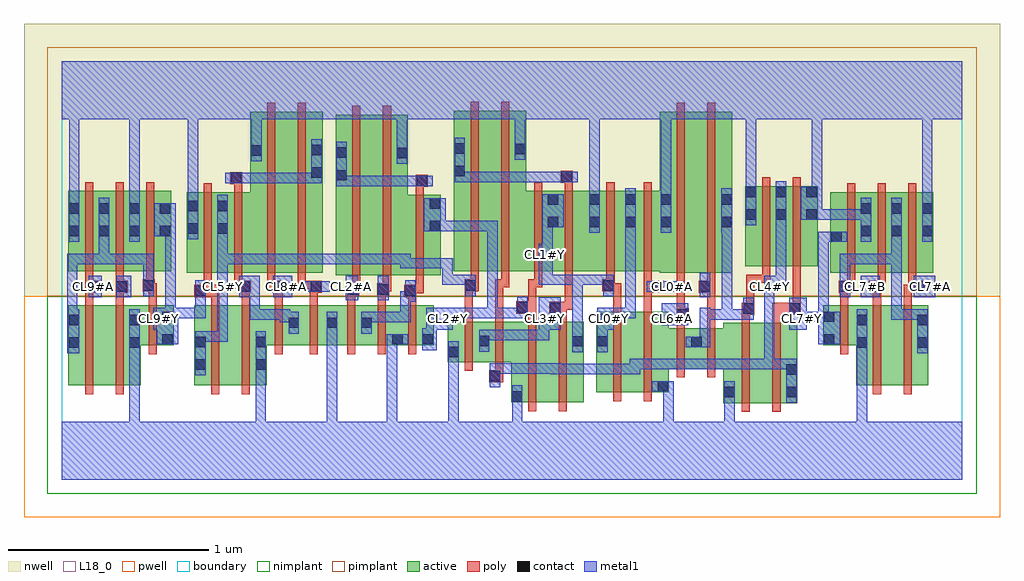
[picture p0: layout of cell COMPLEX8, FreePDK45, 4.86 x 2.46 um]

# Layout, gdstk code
import gdstk
lib = gdstk.Library(unit=1e-6, precision=1e-09)
def R(c, l, rs):  # rectangles x0, y0, x1, y1
    for r in rs: c.add(gdstk.rectangle(r[:2], r[2:], *l))
def A(c, l, x, y, w, h, nx, ny, dx, dy):  # array of equal rectangles
    R(c, l, [(x+i*dx, y+j*dy, x+i*dx+w, y+j*dy+h) for i in range(nx) for j in range(ny)])
active = (1, 0)
pwell = (2, 0)
nwell = (3, 0)
nimplant = (4, 0)
pimplant = (5, 0)
poly = (9, 0)
contact = (10, 0)
metal1 = (11, 0)
L18_0 = (18, 0)
boundary = (235, 0)

complex8 = lib.new_cell('COMPLEX8')
A(complex8, active, 3.972, 1.03, 0.06, 0.348, 3, 1, 0.152, 0)
A(complex8, active, 0.18, 1.036, 0.06, 0.4, 3, 1, 0.152, 0)
R(complex8, active, [(3.292,0.38,3.48,0.78), (3.292,0.38,3.352,0.552), (3.48,0.38,3.66,0.78), (3.6,0.38,3.66,0.78), (2.236,0.384,2.416,0.784), (2.236,0.384,2.296,0.584), (2.416,0.384,2.596,0.784), (2.66,0.434,2.84,0.834), (2.84,0.434,3.02,0.834), (2.96,0.434,3.02,0.552), (2.536,0.46,2.596,0.784), (2.66,0.46,2.72,0.834), (0.032,0.468,0.092,0.868), (0.032,0.468,0.212,0.868), (0.212,0.468,0.392,0.868), (0.332,0.468,0.392,0.868), (0.66,0.468,0.72,0.868), (0.66,0.468,0.84,0.868), (0.84,0.468,1.02,0.868), (0.96,0.468,1.02,0.868), (3.952,0.468,4.012,0.868), (3.952,0.468,4.132,0.868), (4.132,0.468,4.312,0.868), (4.252,0.468,4.312,0.868), (2.96,0.552,3.188,0.752), (3.128,0.552,3.352,0.752), (3.128,0.552,3.188,0.752), (1.92,0.584,1.98,0.784), (1.92,0.584,2.132,0.784), (2.072,0.584,2.296,0.784), (2.072,0.584,2.132,0.72), (0.332,0.668,0.556,0.868), (0.496,0.668,0.556,0.868), (0.96,0.668,1.184,0.868), (1.124,0.668,1.184,0.868), (1.124,0.668,1.374,0.868), (1.314,0.668,1.374,0.868), (1.314,0.668,1.546,0.868), (1.486,0.668,1.546,0.868), (1.486,0.668,1.7,0.868), (1.64,0.668,1.85,0.868), (1.64,0.668,1.7,0.728), (1.79,0.668,1.85,0.868), (3.788,0.668,4.012,0.868), (3.788,0.668,3.848,0.868), (1.362,1.016,1.542,1.816), (1.362,1.016,1.446,1.724), (1.542,1.016,1.722,1.816), (1.662,1.016,1.886,1.416), (1.662,1.016,1.722,1.816), (1.826,1.016,1.886,1.416), (0.622,1.03,0.682,1.43), (0.622,1.03,0.83,1.43), (0.77,1.03,0.83,1.43), (0.77,1.03,0.998,1.43), (0.938,1.03,1.118,1.83), (1.118,1.03,1.298,1.83), (1.238,1.03,1.298,1.724), (2.976,1.03,3.156,1.83), (3.156,1.03,3.336,1.83), (3.276,1.03,3.336,1.724), (3.824,1.03,4.032,1.43), (3.824,1.03,3.884,1.356), (3.972,1.03,4.184,1.43), (4.124,1.03,4.336,1.43), (0.032,1.036,0.092,1.436), (0.032,1.036,0.24,1.436), (0.18,1.036,0.392,1.436), (0.332,1.036,0.544,1.436), (1.95,1.036,2.13,1.836), (1.95,1.036,2.034,1.724), (2.13,1.036,2.31,1.836), (2.25,1.036,2.474,1.436), (2.414,1.036,2.474,1.436), (2.414,1.036,2.68,1.436), (2.62,1.036,2.68,1.424), (2.62,1.036,2.86,1.436), (2.8,1.036,3.036,1.436), (2.8,1.036,2.86,1.424), (2.976,1.036,3.036,1.83), (3.4,1.06,3.46,1.46), (3.4,1.06,3.608,1.46), (3.548,1.06,3.608,1.46), (3.548,1.06,3.76,1.46), (3.7,1.06,3.76,1.46), (2.25,1.164,2.31,1.674), (0.938,1.224,0.998,1.668)])
R(complex8, pwell, [(-0.188,-0.188,4.668,0.912)])
R(complex8, nwell, [(-0.188,0.912,4.668,2.268)])
R(complex8, nimplant, [(-0.072,-0.072,4.552,0.912)])
R(complex8, pimplant, [(-0.072,0.912,4.552,2.152)])
A(complex8, poly, 1.42, 0.624, 0.04, 0.288, 3, 1, 0.152, 0)
A(complex8, poly, 3.908, 0.95, 0.04, 0.076, 3, 1, 0.152, 0)
A(complex8, poly, 3.908, 0.986, 0.04, 0.488, 3, 1, 0.152, 0)
A(complex8, poly, 0.116, 0.992, 0.04, 0.488, 3, 1, 0.152, 0)
R(complex8, poly, [(3.384,0.336,3.424,0.824), (3.536,0.336,3.576,0.824), (2.32,0.34,2.36,0.828), (2.472,0.34,2.512,0.828), (2.744,0.39,2.784,0.878), (2.896,0.39,2.936,0.878), (0.116,0.424,0.156,0.912), (0.268,0.424,0.308,0.912), (0.744,0.424,0.784,0.912), (0.896,0.424,0.936,0.912), (4.036,0.424,4.076,0.912), (4.188,0.424,4.228,0.912), (2.126,0.484,2.196,0.544), (2.156,0.504,2.196,0.58), (3.06,0.508,3.1,0.796), (3.212,0.508,3.252,0.796), (2.004,0.54,2.044,0.828), (2.156,0.54,2.196,0.828), (0.432,0.624,0.472,0.912), (1.06,0.624,1.1,0.912), (1.234,0.624,1.274,0.912), (3.872,0.624,3.912,0.912), (3.06,0.756,3.1,0.832), (3.212,0.756,3.252,0.97), (3.384,0.784,3.424,0.86), (3.536,0.784,3.576,0.86), (2.004,0.788,2.044,0.976), (2.156,0.788,2.196,0.996), (2.32,0.788,2.36,0.866), (2.472,0.788,2.512,0.864), (3.06,0.792,3.12,0.852), (3.06,0.812,3.1,0.852), (3.06,0.812,3.1,0.852), (3.06,0.812,3.1,1.026), (3.384,0.82,3.446,0.88), (3.536,0.82,3.676,0.88), (2.426,0.824,2.512,0.884), (2.262,0.826,2.36,0.886), (2.744,0.838,2.784,0.976), (2.896,0.838,2.936,0.97), (3.406,0.84,3.446,1.02), (3.636,0.84,3.676,0.88), (3.636,0.84,3.676,0.88), (3.636,0.84,3.676,1.056), (2.472,0.844,2.512,0.884), (2.472,0.844,2.542,0.884), (2.502,0.844,2.542,1.032), (2.32,0.846,2.36,0.996), (0.116,0.872,0.156,0.97), (0.268,0.872,0.308,0.97), (0.432,0.872,0.472,0.976), (0.744,0.872,0.784,0.948), (0.896,0.872,0.936,0.97), (1.06,0.872,1.1,0.97), (1.234,0.872,1.274,0.97), (1.42,0.872,1.46,0.956), (1.572,0.872,1.612,0.956), (1.724,0.872,1.764,0.948), (3.872,0.872,3.912,0.97), (4.036,0.872,4.076,0.97), (4.188,0.872,4.228,0.97), (0.66,0.908,0.784,0.968), (1.704,0.908,1.764,0.968), (1.42,0.916,1.48,0.976), (1.57,0.916,1.63,0.976), (0.706,0.928,0.746,0.968), (0.706,0.928,0.746,0.968), (0.706,0.928,0.746,1.026), (1.724,0.928,1.764,0.968), (1.724,0.928,1.802,0.968), (1.762,0.928,1.802,1.012), (0.116,0.93,0.19,0.99), (0.268,0.93,0.328,0.99), (0.88,0.93,0.94,0.99), (1.048,0.93,1.108,0.99), (1.234,0.93,1.294,0.99), (2.896,0.93,2.936,0.97), (2.896,0.93,2.936,0.97), (2.896,0.93,2.994,0.99), (3.17,0.93,3.252,0.99), (3.212,0.93,3.252,0.97), (3.212,0.93,3.252,0.97), (3.866,0.93,3.948,0.99), (3.872,0.93,3.912,0.97), (3.872,0.93,3.912,0.97), (4.014,0.93,4.076,0.99), (4.188,0.93,4.252,0.97), (4.212,0.93,4.252,0.97), (4.212,0.93,4.294,0.99), (0.402,0.936,0.462,0.996), (0.422,0.936,0.462,0.976), (0.422,0.936,0.472,0.976), (1.44,0.936,1.48,0.976), (1.44,0.936,1.486,0.976), (1.446,0.936,1.486,1.012), (1.59,0.936,1.63,0.976), (1.59,0.936,1.638,0.976), (1.598,0.936,1.638,1.012), (2.004,0.936,2.044,0.976), (2.004,0.936,2.044,0.976), (2.004,0.936,2.074,0.996), (2.69,0.936,2.75,0.996), (2.71,0.936,2.75,0.976), (2.71,0.936,2.784,0.976), (0.116,0.95,0.156,0.99), (0.116,0.95,0.156,0.99), (0.116,0.95,0.156,1.032), (0.268,0.95,0.308,0.99), (0.268,0.95,0.308,0.99), (0.268,0.95,0.308,1.032), (0.858,0.95,0.898,1.026), (0.858,0.95,0.92,0.99), (0.88,0.95,0.92,0.99), (1.022,0.95,1.062,1.026), (1.022,0.95,1.088,0.99), (1.048,0.95,1.088,0.99), (1.174,0.95,1.214,1.026), (1.174,0.95,1.274,0.99), (1.234,0.95,1.274,0.99), (2.896,0.95,2.936,1.032), (3.212,0.95,3.252,1.026), (4.036,0.95,4.076,0.99), (4.036,0.95,4.1,0.99), (0.42,0.956,0.46,1.032), (2.034,0.956,2.074,1.032), (2.156,0.956,2.196,0.996), (2.156,0.956,2.196,0.996), (2.156,0.956,2.226,0.996), (2.186,0.956,2.226,1.032), (2.32,0.956,2.39,0.996), (2.35,0.956,2.39,1.032), (2.71,0.956,2.75,1.032), (1.446,0.972,1.486,1.86), (1.598,0.972,1.638,1.86), (1.762,0.972,1.802,1.46), (3.406,0.98,3.524,1.02), (3.484,0.98,3.524,1.056), (0.706,0.986,0.746,1.474), (0.858,0.986,0.898,1.474), (1.022,0.986,1.062,1.874), (1.174,0.986,1.214,1.874), (3.06,0.986,3.1,1.874), (3.212,0.986,3.252,1.874), (2.034,0.992,2.074,1.88), (2.186,0.992,2.226,1.88), (2.35,0.992,2.39,1.48), (2.502,0.992,2.542,1.48), (2.71,0.992,2.75,1.48), (2.896,0.992,2.936,1.48), (3.484,1.016,3.524,1.504), (3.636,1.016,3.676,1.504), (1.762,1.42,1.802,1.496), (0.858,1.434,0.898,1.51), (2.502,1.44,2.542,1.516), (1.762,1.456,1.822,1.516), (0.838,1.47,0.898,1.53), (2.482,1.476,2.542,1.536)])
A(complex8, contact, 0.184, 1.21, 0.052, 0.052, 3, 2, 0.152, 0.112)
A(complex8, contact, 3.976, 1.21, 0.052, 0.052, 3, 2, 0.152, 0.112)
R(complex8, contact, [(2.24,0.388,2.292,0.44), (3.296,0.41,3.348,0.462), (3.604,0.41,3.656,0.462), (2.964,0.438,3.016,0.49), (2.13,0.488,2.182,0.54), (3.604,0.522,3.656,0.574), (0.664,0.546,0.716,0.598), (0.964,0.546,1.016,0.598), (1.924,0.608,1.976,0.66), (0.036,0.656,0.088,0.708), (0.336,0.656,0.388,0.708), (3.956,0.656,4.008,0.708), (4.256,0.656,4.308,0.708), (0.664,0.658,0.716,0.71), (0.964,0.658,1.016,0.71), (3.132,0.658,3.184,0.71), (2.54,0.662,2.592,0.714), (2.664,0.662,2.716,0.714), (2.076,0.664,2.128,0.716), (0.5,0.672,0.552,0.724), (1.644,0.672,1.696,0.724), (1.794,0.672,1.846,0.724), (3.792,0.672,3.844,0.724), (1.128,0.754,1.18,0.806), (1.318,0.754,1.37,0.806), (1.49,0.754,1.542,0.806), (0.036,0.768,0.088,0.82), (0.336,0.768,0.388,0.82), (3.956,0.768,4.008,0.82), (4.256,0.768,4.308,0.82), (2.664,0.774,2.716,0.826), (0.5,0.784,0.552,0.836), (3.792,0.784,3.844,0.836), (3.064,0.796,3.116,0.848), (3.39,0.824,3.442,0.876), (3.62,0.824,3.672,0.876), (2.43,0.828,2.482,0.88), (2.266,0.83,2.318,0.882), (0.664,0.912,0.716,0.964), (1.708,0.912,1.76,0.964), (1.424,0.92,1.476,0.972), (1.574,0.92,1.626,0.972), (0.134,0.934,0.186,0.986), (0.272,0.934,0.324,0.986), (0.884,0.934,0.936,0.986), (1.052,0.934,1.104,0.986), (1.238,0.934,1.29,0.986), (2.938,0.934,2.99,0.986), (3.174,0.934,3.226,0.986), (3.87,0.934,3.922,0.986), (4.018,0.934,4.07,0.986), (4.238,0.934,4.29,0.986), (0.406,0.94,0.458,0.992), (2.008,0.94,2.06,0.992), (2.694,0.94,2.746,0.992), (3.828,1.182,3.88,1.234), (0.036,1.21,0.088,1.262), (0.626,1.224,0.678,1.276), (0.774,1.224,0.826,1.276), (1.83,1.236,1.882,1.288), (2.418,1.256,2.47,1.308), (2.624,1.256,2.676,1.308), (2.804,1.256,2.856,1.308), (2.98,1.256,3.032,1.308), (3.28,1.256,3.332,1.308), (3.404,1.292,3.456,1.344), (3.552,1.292,3.604,1.344), (3.704,1.292,3.756,1.344), (0.036,1.322,0.088,1.374), (0.626,1.336,0.678,1.388), (0.774,1.336,0.826,1.388), (1.83,1.348,1.882,1.4), (2.418,1.368,2.47,1.42), (2.624,1.368,2.676,1.42), (2.804,1.368,2.856,1.42), (2.98,1.368,3.032,1.42), (3.28,1.368,3.332,1.42), (3.404,1.404,3.456,1.456), (3.552,1.404,3.604,1.456), (3.704,1.404,3.756,1.456), (1.766,1.46,1.818,1.512), (0.842,1.474,0.894,1.526), (2.486,1.48,2.538,1.532), (1.366,1.488,1.418,1.54), (1.242,1.502,1.294,1.554), (1.954,1.508,2.006,1.56), (1.666,1.598,1.718,1.65), (1.366,1.6,1.418,1.652), (0.942,1.612,0.994,1.664), (1.242,1.614,1.294,1.666), (2.254,1.618,2.306,1.67), (1.954,1.62,2.006,1.672)])
A(complex8, metal1, 3.976, 1.182, 0.052, 0.22, 3, 1, 0.152, 0)
R(complex8, metal1, [(0,0,4.48,0.288), (0.336,0.236,0.388,0.288), (0.336,0.236,0.388,0.288), (0.336,0.236,0.388,0.68), (0.964,0.236,1.016,0.288), (0.964,0.236,1.016,0.288), (0.964,0.236,1.016,0.57), (1.318,0.236,1.37,0.288), (1.318,0.236,1.37,0.288), (1.318,0.236,1.37,0.288), (1.318,0.236,1.37,0.288), (1.318,0.236,1.37,0.288), (1.318,0.236,1.37,0.288), (1.318,0.236,1.37,0.778), (1.616,0.236,1.668,0.288), (1.616,0.236,1.668,0.288), (1.616,0.236,1.668,0.724), (1.924,0.236,1.976,0.288), (1.924,0.236,1.976,0.288), (1.924,0.236,1.976,0.288), (1.924,0.236,1.976,0.288), (1.924,0.236,1.976,0.288), (1.924,0.236,1.976,0.288), (1.924,0.236,1.976,0.632), (2.24,0.236,2.292,0.288), (2.24,0.236,2.292,0.288), (2.24,0.236,2.292,0.412), (2.992,0.236,3.044,0.288), (2.992,0.236,3.044,0.288), (2.992,0.236,3.044,0.49), (3.296,0.236,3.348,0.288), (3.296,0.236,3.348,0.288), (3.296,0.236,3.348,0.434), (3.956,0.236,4.008,0.288), (3.956,0.236,4.008,0.288), (3.956,0.236,4.008,0.68), (2.24,0.36,2.292,0.468), (3.296,0.382,3.348,0.49), (3.604,0.382,3.656,0.602), (2.936,0.438,3.044,0.49), (2.13,0.46,2.182,0.578), (0.664,0.518,0.716,0.738), (0.964,0.518,1.016,0.738), (2.43,0.524,2.592,0.576), (2.43,0.524,2.482,0.578), (2.54,0.524,2.592,0.576), (2.54,0.524,2.702,0.576), (2.65,0.524,2.702,0.576), (2.65,0.524,2.702,0.576), (2.65,0.524,2.702,0.576), (2.65,0.524,2.878,0.576), (2.826,0.524,2.878,0.6), (2.13,0.526,2.316,0.578), (2.264,0.526,2.316,0.578), (2.264,0.526,2.316,0.578), (2.264,0.526,2.316,0.578), (2.264,0.526,2.482,0.578), (2.43,0.526,2.482,0.578), (2.43,0.526,2.482,0.578), (2.826,0.548,2.878,0.6), (2.826,0.548,2.878,0.6), (2.826,0.548,3.046,0.6), (2.994,0.548,3.046,0.6), (2.994,0.548,3.046,0.6), (2.994,0.548,3.046,0.6), (2.994,0.548,3.222,0.6), (3.17,0.548,3.222,0.6), (3.17,0.548,3.222,0.6), (3.17,0.548,3.222,0.6), (3.17,0.548,3.226,0.6), (3.174,0.548,3.226,0.6), (3.174,0.548,3.336,0.6), (3.284,0.548,3.336,0.6), (3.284,0.548,3.336,0.6), (3.284,0.548,3.336,0.6), (3.284,0.548,3.336,0.6), (3.284,0.548,3.336,0.6), (3.284,0.548,3.546,0.6), (3.494,0.548,3.546,0.6), (3.494,0.548,3.546,0.6), (3.494,0.548,3.546,0.6), (3.494,0.548,3.656,0.6), (3.494,0.548,3.546,0.958), (3.604,0.548,3.656,0.6), (3.604,0.548,3.656,0.6), (1.924,0.58,1.976,0.688), (0.026,0.628,0.088,0.848), (0.336,0.628,0.388,0.848), (3.956,0.628,4.008,0.848), (4.256,0.628,4.308,0.848), (2.54,0.634,2.592,0.742), (2.664,0.634,2.716,0.854), (2.076,0.636,2.128,0.744), (1.794,0.644,1.866,0.752), (3.104,0.658,3.226,0.71), (3.174,0.658,3.226,0.798), (0.472,0.672,0.58,0.836), (1.616,0.672,1.668,0.724), (1.616,0.672,1.668,0.724), (1.616,0.672,1.668,0.724), (1.616,0.672,1.668,0.724), (1.616,0.672,1.724,0.724), (3.764,0.672,3.872,0.836), (0.664,0.686,0.716,0.738), (0.664,0.686,0.716,0.738), (0.664,0.686,0.826,0.738), (0.774,0.686,0.826,0.738), (0.774,0.686,0.826,0.958), (2.54,0.69,2.592,1.02), (2.076,0.692,2.17,0.744), (2.118,0.692,2.17,0.744), (2.118,0.692,2.316,0.744), (2.264,0.692,2.316,0.744), (2.264,0.692,2.316,0.744), (2.264,0.692,2.316,0.744), (2.264,0.692,2.426,0.744), (2.374,0.692,2.426,0.744), (2.374,0.692,2.426,0.798), (1.814,0.7,1.866,0.798), (1.128,0.726,1.18,0.834), (1.318,0.726,1.37,0.834), (1.49,0.726,1.542,0.834), (0.454,0.746,0.568,0.854), (0.498,0.746,0.55,0.798), (1.814,0.746,1.946,0.854), (2.374,0.746,2.426,0.798), (2.374,0.746,2.426,0.798), (2.374,0.746,2.482,0.908), (2.664,0.746,2.716,0.798), (2.664,0.746,2.746,0.854), (3.174,0.746,3.226,0.854), (3.62,0.746,3.706,0.904), (2.986,0.768,3.116,0.876), (1.084,0.782,1.18,0.834), (1.084,0.782,1.136,0.848), (1.49,0.782,1.542,0.834), (1.49,0.782,1.542,0.834), (1.49,0.782,1.736,0.834), (1.684,0.782,1.736,0.834), (1.684,0.782,1.736,0.936), (3.654,0.784,3.706,0.836), (3.654,0.784,3.706,0.836), (3.654,0.784,3.816,0.836), (3.764,0.784,3.816,0.836), (3.764,0.784,3.816,0.836), (3.764,0.784,3.816,1.234), (0.026,0.796,0.078,1.124), (0.934,0.796,0.986,0.848), (0.934,0.796,0.986,0.958), (0.934,0.796,1.136,0.848), (3.174,0.796,3.226,0.848), (3.174,0.796,3.226,0.848), (3.174,0.796,3.336,0.848), (3.284,0.796,3.336,0.848), (3.284,0.796,3.336,0.848), (3.284,0.796,3.336,0.848), (3.284,0.796,3.442,0.848), (3.284,0.796,3.336,1.28), (3.39,0.796,3.442,0.904), (4.128,0.796,4.18,0.848), (4.128,0.796,4.308,0.848), (4.128,0.796,4.18,1.124), (4.256,0.796,4.308,0.848), (4.256,0.796,4.308,0.848), (0.516,0.802,0.716,0.854), (0.516,0.802,0.568,1.262), (0.664,0.802,0.716,0.936), (1.894,0.802,1.946,0.854), (1.894,0.802,1.946,0.854), (1.894,0.802,2.056,0.854), (2.004,0.802,2.056,0.854), (2.004,0.802,2.17,0.854), (2.118,0.802,2.17,0.854), (2.118,0.802,2.17,0.854), (2.118,0.802,2.17,0.854), (2.118,0.802,2.17,0.854), (2.118,0.802,2.17,0.854), (2.118,0.802,2.288,0.854), (2.118,0.802,2.17,1.288), (2.236,0.802,2.288,0.854), (2.236,0.802,2.318,0.854), (2.266,0.802,2.318,0.91), (2.694,0.802,2.746,0.854), (2.694,0.802,2.746,0.854), (2.694,0.802,2.856,0.854), (2.804,0.802,2.856,0.854), (2.804,0.802,2.856,1.28), (0.664,0.884,0.716,0.936), (0.664,0.884,0.716,0.992), (1.684,0.884,1.736,0.936), (1.684,0.884,1.76,0.936), (1.708,0.884,1.76,0.992), (1.414,0.892,1.476,1.014), (1.572,0.892,1.626,1.014), (0.134,0.906,0.198,1.014), (0.272,0.906,0.346,1.014), (0.774,0.906,0.826,1.014), (0.884,0.906,0.986,1.014), (0.934,0.906,0.986,0.958), (0.934,0.906,0.986,0.958), (1.052,0.906,1.146,1.014), (3.174,0.906,3.226,1.03), (3.494,0.906,3.546,1.014), (3.87,0.906,3.922,1.014), (3.974,0.906,4.07,1.014), (4.238,0.906,4.346,1.014), (0.406,0.912,0.458,1.124), (2.008,0.912,2.06,1.02), (2.694,0.912,2.746,1.02), (1.21,0.934,1.334,0.986), (2.91,0.934,3.094,0.986), (0.774,0.962,0.826,1.124), (3.494,0.962,3.546,1.014), (3.494,0.962,3.604,1.014), (3.552,0.962,3.604,1.316), (3.87,0.962,3.922,1.014), (3.87,0.962,3.922,1.124), (1.894,0.968,2.06,1.02), (1.894,0.968,1.946,1.102), (2.374,0.968,2.442,1.174), (2.39,0.968,2.442,1.02), (2.39,0.968,2.442,1.02), (2.39,0.968,2.592,1.02), (2.54,0.968,2.592,1.02), (2.54,0.968,2.592,1.02), (2.54,0.968,2.592,1.02), (2.54,0.968,2.746,1.02), (2.694,0.968,2.746,1.02), (2.694,0.968,2.746,1.02), (1.684,1.05,1.736,1.102), (1.684,1.05,1.736,1.102), (1.684,1.05,1.946,1.102), (1.684,1.05,1.736,1.124), (1.894,1.05,1.946,1.102), (1.894,1.05,1.946,1.102), (0.026,1.072,0.078,1.124), (0.026,1.072,0.078,1.124), (0.026,1.072,0.078,1.124), (0.026,1.072,0.078,1.124), (0.026,1.072,0.078,1.124), (0.026,1.072,0.236,1.124), (0.184,1.072,0.236,1.124), (0.184,1.072,0.236,1.124), (0.184,1.072,0.236,1.124), (0.184,1.072,0.236,1.234), (0.184,1.072,0.346,1.124), (0.294,1.072,0.346,1.124), (0.294,1.072,0.458,1.124), (0.774,1.072,0.826,1.124), (0.774,1.072,0.826,1.124), (0.774,1.072,0.826,1.124), (0.774,1.072,0.936,1.124), (0.774,1.072,0.826,1.248), (0.884,1.072,0.936,1.124), (0.884,1.072,1.096,1.124), (1.044,1.072,1.096,1.124), (1.044,1.072,1.096,1.124), (1.044,1.072,1.096,1.124), (1.044,1.072,1.256,1.124), (1.204,1.072,1.256,1.124), (1.204,1.072,1.256,1.124), (1.204,1.072,1.256,1.124), (1.204,1.072,1.432,1.124), (1.38,1.072,1.432,1.124), (1.38,1.072,1.432,1.124), (1.38,1.072,1.432,1.124), (1.38,1.072,1.542,1.124), (1.49,1.072,1.542,1.124), (1.49,1.072,1.542,1.124), (1.49,1.072,1.542,1.124), (1.49,1.072,1.736,1.124), (3.87,1.072,4.18,1.124), (4.128,1.072,4.18,1.124), (4.128,1.072,4.18,1.124), (4.128,1.072,4.18,1.124), (4.128,1.072,4.18,1.124), (4.128,1.072,4.18,1.124), (4.128,1.072,4.18,1.234), (2.39,1.122,2.442,1.308), (0.036,1.182,0.088,1.402), (0.184,1.182,0.236,1.402), (0.336,1.182,0.388,1.402), (3.764,1.182,3.816,1.234), (3.764,1.182,3.816,1.234), (3.764,1.182,3.908,1.234), (0.626,1.196,0.678,1.416), (0.774,1.196,0.826,1.416), (0.46,1.21,0.568,1.374), (0.516,1.21,0.568,1.262), (0.516,1.21,0.568,1.262), (2.624,1.228,2.676,1.448), (2.804,1.228,2.856,1.28), (2.804,1.228,2.856,1.28), (2.804,1.228,2.856,1.448), (2.98,1.228,3.032,1.448), (3.28,1.228,3.336,1.448), (3.284,1.228,3.336,1.28), (3.284,1.228,3.336,1.28), (1.802,1.236,1.91,1.4), (1.858,1.236,1.91,1.288), (1.858,1.236,1.91,1.288), (1.858,1.236,2.056,1.288), (2.004,1.236,2.056,1.288), (2.004,1.236,2.17,1.288), (2.118,1.236,2.17,1.288), (2.39,1.256,2.498,1.42), (3.404,1.264,3.456,1.484), (3.552,1.264,3.604,1.484), (3.676,1.292,3.784,1.456), (3.732,1.292,3.816,1.344), (3.764,1.292,3.816,1.344), (3.764,1.292,3.894,1.344), (3.842,1.292,3.894,1.344), (3.842,1.292,4.028,1.344), (0.036,1.35,0.088,1.844), (0.336,1.35,0.388,1.844), (4.28,1.35,4.332,1.402), (4.28,1.35,4.332,1.402), (4.28,1.35,4.332,1.844), (0.626,1.364,0.678,1.844), (2.624,1.396,2.676,1.844), (2.98,1.396,3.032,1.844), (3.732,1.404,3.784,1.456), (3.732,1.404,3.784,1.456), (3.732,1.404,3.784,1.456), (3.732,1.404,3.784,1.456), (3.732,1.404,3.784,1.844), (3.404,1.432,3.456,1.484), (3.404,1.432,3.456,1.484), (3.404,1.432,3.456,1.484), (3.404,1.432,3.456,1.484), (3.404,1.432,3.456,1.484), (3.404,1.432,3.456,1.484), (3.404,1.432,3.456,1.844), (1.366,1.46,1.418,1.512), (1.366,1.46,1.418,1.512), (1.366,1.46,1.418,1.68), (1.366,1.46,1.542,1.512), (1.49,1.46,1.542,1.512), (1.49,1.46,1.542,1.512), (1.49,1.46,1.542,1.512), (1.49,1.46,1.736,1.512), (1.684,1.46,1.736,1.512), (1.684,1.46,1.79,1.512), (1.738,1.46,1.846,1.512), (0.814,1.474,0.922,1.526), (0.87,1.474,0.986,1.526), (0.934,1.474,0.986,1.526), (0.934,1.474,1.136,1.526), (1.084,1.474,1.136,1.526), (1.084,1.474,1.136,1.526), (1.084,1.474,1.136,1.526), (1.084,1.474,1.246,1.526), (1.194,1.474,1.246,1.526), (1.194,1.474,1.294,1.526), (1.242,1.474,1.294,1.694), (1.954,1.48,2.006,1.7), (1.954,1.48,2.056,1.532), (2.004,1.48,2.056,1.532), (2.004,1.48,2.178,1.532), (2.126,1.48,2.178,1.532), (2.126,1.48,2.178,1.532), (2.126,1.48,2.178,1.532), (2.126,1.48,2.316,1.532), (2.264,1.48,2.316,1.532), (2.264,1.48,2.316,1.532), (2.264,1.48,2.316,1.532), (2.264,1.48,2.432,1.532), (2.38,1.48,2.432,1.532), (2.38,1.48,2.51,1.532), (2.458,1.48,2.566,1.532), (1.666,1.57,1.718,1.678), (0.942,1.584,0.994,1.692), (2.254,1.59,2.306,1.698), (1.666,1.626,1.718,1.844), (0.942,1.64,0.994,1.844), (2.254,1.646,2.306,1.844), (0,1.792,4.48,2.08), (0.036,1.792,0.088,1.844), (0.036,1.792,0.088,1.844), (0.036,1.792,0.088,1.844), (0.036,1.792,0.088,1.844), (0.036,1.792,0.088,1.844), (0.036,1.792,0.088,1.844), (0.036,1.792,0.088,1.844), (0.036,1.792,0.088,1.844), (0.336,1.792,0.388,1.844), (0.336,1.792,0.388,1.844), (0.336,1.792,0.388,1.844), (0.336,1.792,0.388,1.844), (0.336,1.792,0.388,1.844), (0.336,1.792,0.388,1.844), (0.336,1.792,0.388,1.844), (0.336,1.792,0.388,1.844), (0.626,1.792,0.678,1.844), (0.626,1.792,0.678,1.844), (0.626,1.792,0.678,1.844), (0.626,1.792,0.678,1.844), (0.626,1.792,0.678,1.844), (0.626,1.792,0.678,1.844), (0.626,1.792,0.678,1.844), (0.626,1.792,0.678,1.844), (2.624,1.792,2.676,1.844), (2.624,1.792,2.676,1.844), (2.624,1.792,2.676,1.844), (2.624,1.792,2.676,1.844), (2.624,1.792,2.676,1.844), (2.624,1.792,2.676,1.844), (2.624,1.792,2.676,1.844), (2.624,1.792,2.676,1.844), (3.404,1.792,3.456,1.844), (3.404,1.792,3.456,1.844), (3.732,1.792,3.784,1.844), (3.732,1.792,3.784,1.844), (3.732,1.792,3.784,1.844), (3.732,1.792,3.784,1.844), (4.28,1.792,4.332,1.844), (4.28,1.792,4.332,1.844), (4.28,1.792,4.332,1.844), (4.28,1.792,4.332,1.844), (4.28,1.792,4.332,1.844), (4.28,1.792,4.332,1.844)])
A(complex8, L18_0, 2.374, 0.774, 0.052, 0.052, 3, 1, 0.32, 0)
A(complex8, L18_0, 0.774, 0.934, 0.052, 0.052, 6, 1, 0.16, 0)
R(complex8, L18_0, [(0,0,4.48,0.288), (0.336,0.236,0.388,0.288), (0.336,0.236,0.388,0.288), (0.336,0.236,0.388,0.68), (0.964,0.236,1.016,0.288), (0.964,0.236,1.016,0.288), (0.964,0.236,1.016,0.57), (1.318,0.236,1.37,0.288), (1.318,0.236,1.37,0.288), (1.318,0.236,1.37,0.288), (1.318,0.236,1.37,0.288), (1.318,0.236,1.37,0.288), (1.318,0.236,1.37,0.288), (1.318,0.236,1.37,0.778), (1.616,0.236,1.668,0.288), (1.616,0.236,1.668,0.288), (1.616,0.236,1.668,0.724), (1.924,0.236,1.976,0.288), (1.924,0.236,1.976,0.288), (1.924,0.236,1.976,0.288), (1.924,0.236,1.976,0.288), (1.924,0.236,1.976,0.288), (1.924,0.236,1.976,0.288), (1.924,0.236,1.976,0.632), (2.24,0.236,2.292,0.288), (2.24,0.236,2.292,0.288), (2.24,0.236,2.292,0.412), (2.992,0.236,3.044,0.288), (2.992,0.236,3.044,0.288), (2.992,0.236,3.044,0.49), (3.296,0.236,3.348,0.288), (3.296,0.236,3.348,0.288), (3.296,0.236,3.348,0.434), (3.956,0.236,4.008,0.288), (3.956,0.236,4.008,0.288), (3.956,0.236,4.008,0.68), (2.24,0.36,2.292,0.468), (3.296,0.382,3.348,0.49), (3.604,0.382,3.656,0.602), (2.936,0.438,3.044,0.49), (2.13,0.46,2.182,0.578), (0.664,0.518,0.716,0.738), (0.964,0.518,1.016,0.738), (2.43,0.524,2.592,0.576), (2.43,0.524,2.482,0.578), (2.54,0.524,2.592,0.576), (2.54,0.524,2.702,0.576), (2.65,0.524,2.702,0.576), (2.65,0.524,2.702,0.576), (2.65,0.524,2.702,0.576), (2.65,0.524,2.878,0.576), (2.826,0.524,2.878,0.6), (2.13,0.526,2.316,0.578), (2.264,0.526,2.316,0.578), (2.264,0.526,2.316,0.578), (2.264,0.526,2.316,0.578), (2.264,0.526,2.482,0.578), (2.43,0.526,2.482,0.578), (2.43,0.526,2.482,0.578), (2.826,0.548,2.878,0.6), (2.826,0.548,2.878,0.6), (2.826,0.548,3.046,0.6), (2.994,0.548,3.046,0.6), (2.994,0.548,3.046,0.6), (2.994,0.548,3.046,0.6), (2.994,0.548,3.222,0.6), (3.17,0.548,3.222,0.6), (3.17,0.548,3.222,0.6), (3.17,0.548,3.222,0.6), (3.17,0.548,3.226,0.6), (3.174,0.548,3.226,0.6), (3.174,0.548,3.336,0.6), (3.284,0.548,3.336,0.6), (3.284,0.548,3.336,0.6), (3.284,0.548,3.336,0.6), (3.284,0.548,3.336,0.6), (3.284,0.548,3.336,0.6), (3.284,0.548,3.546,0.6), (3.494,0.548,3.546,0.6), (3.494,0.548,3.546,0.6), (3.494,0.548,3.546,0.6), (3.494,0.548,3.656,0.6), (3.494,0.548,3.546,0.958), (3.604,0.548,3.656,0.6), (3.604,0.548,3.656,0.6), (1.924,0.58,1.976,0.688), (0.336,0.628,0.388,0.848), (3.956,0.628,4.008,0.848), (2.54,0.634,2.592,0.742), (2.664,0.634,2.716,0.854), (2.076,0.636,2.128,0.744), (1.794,0.644,1.866,0.752), (3.104,0.658,3.226,0.71), (3.174,0.658,3.226,0.798), (0.472,0.672,0.58,0.836), (1.616,0.672,1.668,0.724), (1.616,0.672,1.668,0.724), (1.616,0.672,1.668,0.724), (1.616,0.672,1.668,0.724), (1.616,0.672,1.724,0.724), (3.764,0.672,3.872,0.836), (0.664,0.686,0.716,0.738), (0.664,0.686,0.716,0.738), (0.664,0.686,0.826,0.738), (0.774,0.686,0.826,0.738), (0.774,0.686,0.826,0.958), (2.54,0.69,2.592,1.02), (2.076,0.692,2.17,0.744), (2.118,0.692,2.17,0.744), (2.118,0.692,2.316,0.744), (2.264,0.692,2.316,0.744), (2.264,0.692,2.316,0.744), (2.264,0.692,2.316,0.744), (2.264,0.692,2.426,0.744), (2.374,0.692,2.426,0.744), (2.374,0.692,2.426,0.798), (1.814,0.7,1.866,0.798), (1.128,0.726,1.18,0.834), (1.318,0.726,1.37,0.834), (0.454,0.746,0.568,0.854), (0.498,0.746,0.55,0.798), (1.814,0.746,1.946,0.854), (2.374,0.746,2.426,0.798), (2.374,0.746,2.426,0.798), (2.374,0.746,2.482,0.908), (2.664,0.746,2.716,0.798), (2.664,0.746,2.746,0.854), (3.174,0.746,3.226,0.854), (3.62,0.746,3.706,0.904), (2.986,0.768,3.116,0.876), (0.454,0.774,0.506,0.826), (1.894,0.774,1.946,0.826), (3.174,0.774,3.226,0.826), (3.654,0.774,3.706,0.826), (1.084,0.782,1.136,0.848), (1.084,0.782,1.18,0.834), (3.654,0.784,3.706,0.836), (3.654,0.784,3.706,0.836), (3.654,0.784,3.816,0.836), (3.764,0.784,3.816,0.836), (3.764,0.784,3.816,0.836), (3.764,0.784,3.816,1.234), (0.934,0.796,0.986,0.848), (0.934,0.796,0.986,0.958), (0.934,0.796,1.136,0.848), (3.174,0.796,3.226,0.848), (3.174,0.796,3.226,0.848), (3.174,0.796,3.336,0.848), (3.284,0.796,3.336,0.848), (3.284,0.796,3.336,0.848), (3.284,0.796,3.336,0.848), (3.284,0.796,3.336,1.28), (3.284,0.796,3.442,0.848), (3.39,0.796,3.442,0.904), (0.516,0.802,0.568,1.262), (0.516,0.802,0.716,0.854), (0.664,0.802,0.716,0.936), (1.894,0.802,1.946,0.854), (1.894,0.802,1.946,0.854), (1.894,0.802,2.056,0.854), (2.004,0.802,2.056,0.854), (2.004,0.802,2.17,0.854), (2.118,0.802,2.17,0.854), (2.118,0.802,2.17,0.854), (2.118,0.802,2.17,0.854), (2.118,0.802,2.17,0.854), (2.118,0.802,2.17,0.854), (2.118,0.802,2.17,1.288), (2.118,0.802,2.288,0.854), (2.236,0.802,2.288,0.854), (2.236,0.802,2.318,0.854), (2.266,0.802,2.318,0.91), (2.694,0.802,2.746,0.854), (2.694,0.802,2.746,0.854), (2.694,0.802,2.856,0.854), (2.804,0.802,2.856,0.854), (2.804,0.802,2.856,1.28), (0.664,0.884,0.716,0.936), (0.664,0.884,0.716,0.992), (1.414,0.892,1.476,1.014), (1.572,0.892,1.626,1.014), (0.134,0.906,0.198,1.014), (0.272,0.906,0.346,1.014), (0.774,0.906,0.826,1.014), (0.884,0.906,0.986,1.014), (0.934,0.906,0.986,0.958), (0.934,0.906,0.986,0.958), (1.052,0.906,1.146,1.014), (3.174,0.906,3.226,1.03), (3.494,0.906,3.546,1.014), (3.974,0.906,4.07,1.014), (4.238,0.906,4.346,1.014), (2.008,0.912,2.06,1.02), (2.694,0.912,2.746,1.02), (0.134,0.934,0.186,0.986), (0.294,0.934,0.346,0.986), (1.21,0.934,1.334,0.986), (2.91,0.934,3.094,0.986), (3.014,0.934,3.066,0.986), (3.174,0.934,3.226,0.986), (3.494,0.934,3.546,0.986), (3.974,0.934,4.026,0.986), (4.294,0.934,4.346,0.986), (0.774,0.962,0.826,1.124), (3.494,0.962,3.546,1.014), (3.494,0.962,3.604,1.014), (3.552,0.962,3.604,1.316), (1.894,0.968,1.946,1.102), (1.894,0.968,2.06,1.02), (2.374,0.968,2.442,1.174), (2.39,0.968,2.442,1.02), (2.39,0.968,2.442,1.02), (2.39,0.968,2.592,1.02), (2.54,0.968,2.592,1.02), (2.54,0.968,2.592,1.02), (2.54,0.968,2.592,1.02), (2.54,0.968,2.746,1.02), (2.694,0.968,2.746,1.02), (2.694,0.968,2.746,1.02), (1.684,1.05,1.736,1.102), (1.684,1.05,1.736,1.102), (1.684,1.05,1.736,1.124), (1.684,1.05,1.946,1.102), (1.894,1.05,1.946,1.102), (1.894,1.05,1.946,1.102), (0.774,1.072,0.826,1.124), (0.774,1.072,0.826,1.124), (0.774,1.072,0.826,1.124), (0.774,1.072,0.936,1.124), (0.774,1.072,0.826,1.248), (0.884,1.072,0.936,1.124), (0.884,1.072,1.096,1.124), (1.044,1.072,1.096,1.124), (1.044,1.072,1.096,1.124), (1.044,1.072,1.096,1.124), (1.044,1.072,1.256,1.124), (1.204,1.072,1.256,1.124), (1.204,1.072,1.256,1.124), (1.204,1.072,1.256,1.124), (1.204,1.072,1.432,1.124), (1.38,1.072,1.432,1.124), (1.38,1.072,1.432,1.124), (1.38,1.072,1.432,1.124), (1.38,1.072,1.542,1.124), (1.49,1.072,1.542,1.124), (1.49,1.072,1.542,1.124), (1.49,1.072,1.542,1.124), (1.49,1.072,1.736,1.124), (2.374,1.094,2.426,1.146), (2.39,1.122,2.442,1.308), (0.036,1.182,0.088,1.402), (0.336,1.182,0.388,1.402), (3.764,1.182,3.816,1.234), (3.764,1.182,3.816,1.234), (3.764,1.182,3.908,1.234), (3.976,1.182,4.028,1.402), (4.28,1.182,4.332,1.402), (0.626,1.196,0.678,1.416), (0.774,1.196,0.826,1.416), (0.46,1.21,0.568,1.374), (0.516,1.21,0.568,1.262), (0.516,1.21,0.568,1.262), (2.624,1.228,2.676,1.448), (2.804,1.228,2.856,1.448), (2.804,1.228,2.856,1.28), (2.804,1.228,2.856,1.28), (2.98,1.228,3.032,1.448), (3.28,1.228,3.336,1.448), (3.284,1.228,3.336,1.28), (3.284,1.228,3.336,1.28), (1.802,1.236,1.91,1.4), (1.858,1.236,1.91,1.288), (1.858,1.236,1.91,1.288), (1.858,1.236,2.056,1.288), (2.004,1.236,2.056,1.288), (2.004,1.236,2.17,1.288), (2.118,1.236,2.17,1.288), (2.39,1.256,2.498,1.42), (3.404,1.264,3.456,1.484), (3.552,1.264,3.604,1.484), (3.676,1.292,3.784,1.456), (3.732,1.292,3.816,1.344), (3.764,1.292,3.816,1.344), (3.764,1.292,3.894,1.344), (3.842,1.292,3.894,1.344), (3.842,1.292,4.028,1.344), (0.036,1.35,0.088,1.844), (0.336,1.35,0.388,1.844), (4.28,1.35,4.332,1.402), (4.28,1.35,4.332,1.402), (4.28,1.35,4.332,1.844), (0.626,1.364,0.678,1.844), (2.624,1.396,2.676,1.844), (2.98,1.396,3.032,1.844), (3.732,1.404,3.784,1.456), (3.732,1.404,3.784,1.456), (3.732,1.404,3.784,1.456), (3.732,1.404,3.784,1.456), (3.732,1.404,3.784,1.844), (3.404,1.432,3.456,1.484), (3.404,1.432,3.456,1.484), (3.404,1.432,3.456,1.484), (3.404,1.432,3.456,1.484), (3.404,1.432,3.456,1.484), (3.404,1.432,3.456,1.484), (3.404,1.432,3.456,1.844), (0.814,1.474,0.922,1.526), (0.87,1.474,0.986,1.526), (0.934,1.474,0.986,1.526), (0.934,1.474,1.136,1.526), (1.084,1.474,1.136,1.526), (1.084,1.474,1.136,1.526), (1.084,1.474,1.136,1.526), (1.084,1.474,1.246,1.526), (1.194,1.474,1.246,1.526), (1.194,1.474,1.294,1.526), (1.242,1.474,1.294,1.694), (1.954,1.48,2.006,1.7), (1.954,1.48,2.056,1.532), (2.004,1.48,2.056,1.532), (2.004,1.48,2.178,1.532), (2.126,1.48,2.178,1.532), (2.126,1.48,2.178,1.532), (2.126,1.48,2.178,1.532), (2.126,1.48,2.316,1.532), (2.264,1.48,2.316,1.532), (2.264,1.48,2.316,1.532), (2.264,1.48,2.316,1.532), (2.264,1.48,2.432,1.532), (2.38,1.48,2.432,1.532), (2.38,1.48,2.51,1.532), (2.458,1.48,2.566,1.532), (1.666,1.57,1.718,1.678), (0.942,1.584,0.994,1.692), (2.254,1.59,2.306,1.698), (1.666,1.626,1.718,1.844), (0.942,1.64,0.994,1.844), (2.254,1.646,2.306,1.844), (0,1.792,4.48,2.08), (0.036,1.792,0.088,1.844), (0.036,1.792,0.088,1.844), (0.036,1.792,0.088,1.844), (0.036,1.792,0.088,1.844), (0.036,1.792,0.088,1.844), (0.036,1.792,0.088,1.844), (0.036,1.792,0.088,1.844), (0.036,1.792,0.088,1.844), (0.336,1.792,0.388,1.844), (0.336,1.792,0.388,1.844), (0.336,1.792,0.388,1.844), (0.336,1.792,0.388,1.844), (0.336,1.792,0.388,1.844), (0.336,1.792,0.388,1.844), (0.336,1.792,0.388,1.844), (0.336,1.792,0.388,1.844), (0.626,1.792,0.678,1.844), (0.626,1.792,0.678,1.844), (0.626,1.792,0.678,1.844), (0.626,1.792,0.678,1.844), (0.626,1.792,0.678,1.844), (0.626,1.792,0.678,1.844), (0.626,1.792,0.678,1.844), (0.626,1.792,0.678,1.844), (2.624,1.792,2.676,1.844), (2.624,1.792,2.676,1.844), (2.624,1.792,2.676,1.844), (2.624,1.792,2.676,1.844), (2.624,1.792,2.676,1.844), (2.624,1.792,2.676,1.844), (2.624,1.792,2.676,1.844), (2.624,1.792,2.676,1.844), (3.404,1.792,3.456,1.844), (3.404,1.792,3.456,1.844), (3.732,1.792,3.784,1.844), (3.732,1.792,3.784,1.844), (3.732,1.792,3.784,1.844), (3.732,1.792,3.784,1.844), (4.28,1.792,4.332,1.844), (4.28,1.792,4.332,1.844), (4.28,1.792,4.332,1.844), (4.28,1.792,4.332,1.844), (4.28,1.792,4.332,1.844), (4.28,1.792,4.332,1.844)])
R(complex8, boundary, [(0,0,4.48,2.08)])
complex8.add(gdstk.Label('CL0#A', (3.04,0.96), layer=11, texttype=0))
complex8.add(gdstk.Label('CL0#Y', (2.72,0.8), layer=11, texttype=0))
complex8.add(gdstk.Label('CL1#Y', (2.4,1.12), layer=11, texttype=0))
complex8.add(gdstk.Label('CL2#A', (1.44,0.96), layer=11, texttype=0))
complex8.add(gdstk.Label('CL2#B', (1.6,0.96), layer=11, texttype=0))
complex8.add(gdstk.Label('CL2#Y', (1.92,0.8), layer=11, texttype=0))
complex8.add(gdstk.Label('CL3#Y', (2.4,0.8), layer=11, texttype=0))
complex8.add(gdstk.Label('CL4#Y', (3.52,0.96), layer=11, texttype=0))
complex8.add(gdstk.Label('CL5#Y', (0.8,0.96), layer=11, texttype=0))
complex8.add(gdstk.Label('CL6#A', (3.04,0.8), layer=11, texttype=0))
complex8.add(gdstk.Label('CL6#B', (3.2,0.96), layer=11, texttype=0))
complex8.add(gdstk.Label('CL6#Y', (3.2,0.8), layer=11, texttype=0))
complex8.add(gdstk.Label('CL7#A', (4.32,0.96), layer=11, texttype=0))
complex8.add(gdstk.Label('CL7#B', (4,0.96), layer=11, texttype=0))
complex8.add(gdstk.Label('CL7#Y', (3.68,0.8), layer=11, texttype=0))
complex8.add(gdstk.Label('CL8#A', (1.12,0.96), layer=11, texttype=0))
complex8.add(gdstk.Label('CL8#B', (1.28,0.96), layer=11, texttype=0))
complex8.add(gdstk.Label('CL8#Y', (0.96,0.96), layer=11, texttype=0))
complex8.add(gdstk.Label('CL9#A', (0.16,0.96), layer=11, texttype=0))
complex8.add(gdstk.Label('CL9#B', (0.32,0.96), layer=11, texttype=0))
complex8.add(gdstk.Label('CL9#Y', (0.48,0.8), layer=11, texttype=0))

lib.write_gds('COMPLEX8.gds')
